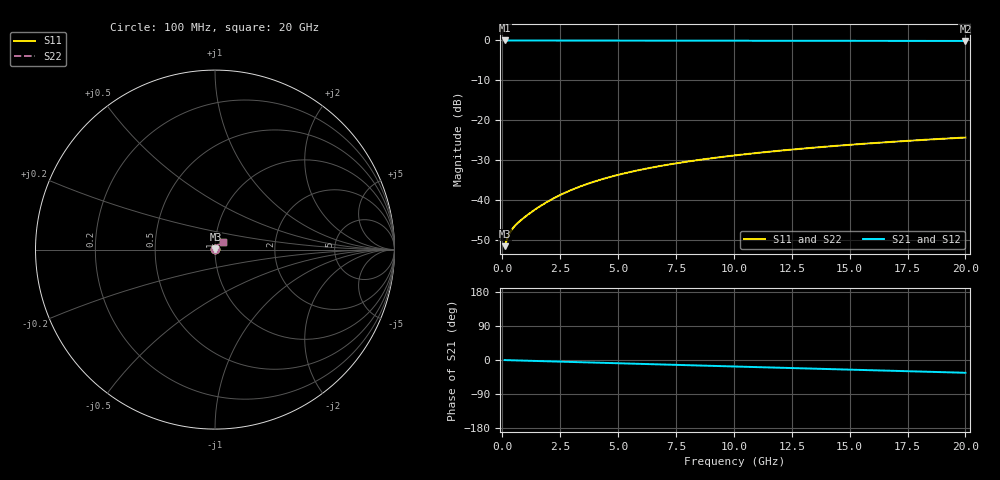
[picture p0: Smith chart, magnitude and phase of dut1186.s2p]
! Touchstone file exported from HFSS 2026.1.0
!  File:  C:/ffzhzh/LocalFiles/Ansys_Project_Files/temp_train_BSMRDL_1186_1783176228_18472.aedt
!  Generated:  10:44:57 PM Jul  4, 2026
!  Design:  BSMRDL
!  Project:  temp_train_BSMRDL_1186_1783176228_18472
! Variables:
!  h_bsmrdl = 3.78um
!  h_ox = 20um
!  h_rdl = 5um
!  h_sub = 80um
!  h_tmrdl = 5um
!  h_tsv = 80um
!  h_via = 3um
!  l_bsmrdl = 592.26um
!  l_sub = 992.26um
!  l_tmrdl = 200um
!  m_sub = 200um
!  pitch = 31.12um
!  r_tsv = 6um
!  s_tmrdl = 10um
!  w_bsmrdl = 25.13um
!  w_sub = 500um
!  w_tmrdl = 12um
!  x_tsv_center1 = 206um
!  x_tsv_center2 = 823.39um
!  x_tsv_center3 = 1035.39um
!  x_tsv_center4 = 1652.78um
!  x_tsv_center5 = 1864.78um
!  x_tsv_center6 = 2482.17um
# GHz S MA R 50.000000
! Terminal data exported
! Port[1] = BSM_RDL1_1_T1
! Port[2] = BSM_RDL1_1_T2
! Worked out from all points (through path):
!   200 points, 100 MHz to 20 GHz, reference 50 ohm
!   highest |S21| = -0.02 dB at 100 MHz (marker M1); lowest = -0.2 dB at 20 GHz (marker M2)
!   group delay of S21, straight-line fit = 4.67 ps
!   lowest |S11| = -51.5 dB at 100 MHz (marker M3), VSWR 1.01, Z = 50.3 + j0.0882 ohm
!   |S11| at or under -10 dB: start of sweep to end of sweep
!   |S22| runs from -51.5 to -24.3 dB; largest |S21 - S12| = 2.9e-15
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0.1  0.002654 19.3  0.9975 -0.2  0.9975 -0.2  0.002654 19.3
! Gamma 0 0 0 0
! Port Impedance 50 0 50 0
0.2  0.00323 29.3  0.9972 -0.4  0.9972 -0.4  0.00323 29.3
0.3  0.00378 33.7  0.9969 -0.6  0.9969 -0.6  0.00378 33.7
0.4  0.004236 36.2  0.9966 -0.7  0.9966 -0.7  0.004235 36.2
0.5  0.004619 38.3  0.9964 -0.9  0.9964 -0.9  0.004619 38.3
0.6  0.004961 40.3  0.9963 -1.1  0.9963 -1.1  0.004961 40.3
0.8  0.005599 44.1  0.9961 -1.4  0.9961 -1.4  0.005599 44.1
1  0.006236 47.6  0.996 -1.8  0.996 -1.8  0.006235 47.6
1.6  0.008281 55.3  0.9956 -2.8  0.9956 -2.8  0.00828 55.3
2.2  0.01048 59.5  0.9953 -3.9  0.9953 -3.9  0.01047 59.5
2.8  0.01272 61.6  0.9949 -4.9  0.9949 -4.9  0.01272 61.6
3.5  0.01533 62.6  0.9943 -6.1  0.9943 -6.1  0.01533 62.6
4.2  0.01789 62.8  0.9937 -7.3  0.9937 -7.3  0.01789 62.8
5  0.02072 62.3  0.993 -8.7  0.993 -8.7  0.02071 62.3
5.9  0.02377 61.5  0.9922 -10.2  0.9922 -10.2  0.02377 61.5
6.8  0.02669 60.4  0.9914 -11.7  0.9914 -11.7  0.02669 60.4
8.3  0.0313 58.5  0.9902 -14.2  0.9902 -14.2  0.03129 58.5
10.1  0.03648 56.0  0.9888 -17.3  0.9888 -17.3  0.03648 56.1
11.7  0.04085 53.9  0.9876 -19.9  0.9876 -19.9  0.04084 53.9
13.4  0.04528 51.6  0.9865 -22.8  0.9865 -22.8  0.04527 51.6
16.7  0.05338 47.0  0.9846 -28.2  0.9846 -28.2  0.05337 47.0
20  0.06083 42.4  0.9829 -33.7  0.9829 -33.7  0.06081 42.4
